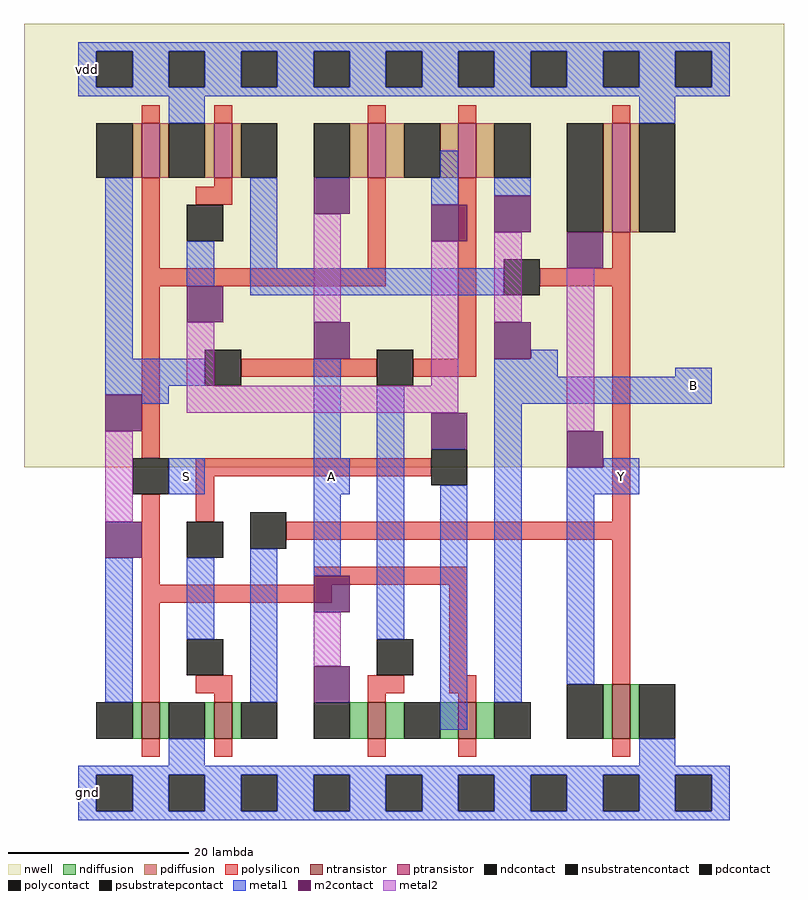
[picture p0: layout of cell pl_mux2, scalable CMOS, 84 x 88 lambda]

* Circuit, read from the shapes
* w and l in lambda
.subckt pl_mux2 A B S Y vdd gnd
M1 gnd S n1 gnd nfet w=4 l=2
M2 n2 n3 gnd gnd nfet w=4 l=2
M3 n3 n1 A gnd nfet w=4 l=2
M4 B S n3 gnd nfet w=4 l=2
M5 gnd n2 Y gnd nfet w=6 l=2
M6 vdd S n1 vdd pfet w=6 l=2
M7 n2 n3 vdd vdd pfet w=6 l=2
M8 n3 S A vdd pfet w=6 l=2
M9 B n1 n3 vdd pfet w=6 l=2
M10 vdd n2 Y vdd pfet w=12 l=2
.ends

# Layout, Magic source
magic
tech scmos
<< nwell >>
rect -6 36 78 85
<< ndiffusion >>
rect 6 6 7 10
rect 9 6 10 10
rect 14 6 15 10
rect 17 6 18 10
rect 30 6 32 10
rect 34 6 36 10
rect 40 6 42 10
rect 44 6 46 10
rect 58 6 59 12
rect 61 6 62 12
<< pdiffusion >>
rect 58 62 59 74
rect 61 62 62 74
rect 6 68 7 74
rect 9 68 10 74
rect 14 68 15 74
rect 17 68 18 74
rect 30 68 32 74
rect 34 68 36 74
rect 40 68 42 74
rect 44 68 46 74
<< polysilicon >>
rect 7 4 9 6
rect 15 4 17 6
rect 32 4 34 6
rect 42 4 44 6
rect 59 4 61 6
rect 7 10 9 21
rect 15 10 17 11
rect 32 10 34 11
rect 42 10 44 11
rect 13 11 17 13
rect 32 11 36 13
rect 41 11 44 13
rect 59 12 61 28
rect 41 13 43 23
rect 7 21 28 23
rect 7 23 9 33
rect 26 23 43 25
rect 23 28 61 30
rect 13 30 15 35
rect 59 30 61 56
rect 13 35 39 37
rect 7 37 9 56
rect 18 46 33 48
rect 37 46 44 48
rect 42 48 44 68
rect 7 56 34 58
rect 51 56 61 58
rect 7 58 9 68
rect 32 58 34 68
rect 59 58 61 62
rect 13 65 17 67
rect 15 67 17 68
rect 7 74 9 76
rect 15 74 17 76
rect 32 74 34 76
rect 42 74 44 76
rect 59 74 61 76
<< ntransistor >>
rect 7 6 9 10
rect 15 6 17 10
rect 32 6 34 10
rect 42 6 44 10
rect 59 6 61 12
<< ptransistor >>
rect 59 62 61 74
rect 7 68 9 74
rect 15 68 17 74
rect 32 68 34 74
rect 42 68 44 74
<< ndcontact >>
rect 2 6 6 10
rect 10 6 14 10
rect 18 6 22 10
rect 26 6 30 10
rect 36 6 40 10
rect 46 6 50 10
rect 54 6 58 12
rect 62 6 66 12
<< pdcontact >>
rect 54 62 58 74
rect 62 62 66 74
rect 2 68 6 74
rect 10 68 14 74
rect 18 68 22 74
rect 26 68 30 74
rect 36 68 40 74
rect 46 68 50 74
<< polycontact >>
rect 12 13 16 17
rect 33 13 37 17
rect 12 26 16 30
rect 19 27 23 31
rect 6 33 10 37
rect 39 34 43 38
rect 14 45 18 49
rect 33 45 37 49
rect 47 55 51 59
rect 12 61 16 65
<< psubstratepcontact >>
rect 2 -2 6 2
rect 10 -2 14 2
rect 18 -2 22 2
rect 26 -2 30 2
rect 34 -2 38 2
rect 42 -2 46 2
rect 50 -2 54 2
rect 58 -2 62 2
rect 66 -2 70 2
<< nsubstratencontact >>
rect 2 78 6 82
rect 10 78 14 82
rect 18 78 22 82
rect 26 78 30 82
rect 34 78 38 82
rect 42 78 46 82
rect 50 78 54 82
rect 58 78 62 82
rect 66 78 70 82
<< metal1 >>
rect 0 -3 72 -2
rect 0 -2 2 2
rect 6 -2 10 2
rect 14 -2 18 2
rect 22 -2 26 2
rect 30 -2 34 2
rect 38 -2 42 2
rect 46 -2 50 2
rect 54 -2 58 2
rect 62 -2 66 2
rect 70 -2 72 2
rect 0 2 72 3
rect 10 3 14 6
rect 62 3 66 6
rect 40 7 43 34
rect 3 10 6 26
rect 19 10 22 27
rect 46 10 49 43
rect 54 12 57 33
rect 12 17 15 26
rect 33 17 36 45
rect 26 24 29 33
rect 10 33 14 37
rect 26 33 30 37
rect 54 33 62 36
rect 58 36 62 37
rect 26 37 29 48
rect 7 43 10 44
rect 46 43 70 46
rect 3 44 10 45
rect 3 45 14 48
rect 46 46 53 48
rect 66 46 70 47
rect 3 48 6 68
rect 50 48 53 49
rect 19 55 47 58
rect 12 56 15 61
rect 19 58 22 68
rect 39 65 42 68
rect 46 66 50 68
rect 40 68 42 71
rect 10 74 14 77
rect 62 74 66 77
rect 0 77 72 78
rect 0 78 2 82
rect 6 78 10 82
rect 14 78 18 82
rect 22 78 26 82
rect 30 78 34 82
rect 38 78 42 82
rect 46 78 50 82
rect 54 78 58 82
rect 62 78 66 82
rect 70 78 72 82
rect 0 82 72 83
<< m2contact >>
rect 26 10 30 14
rect 26 20 30 24
rect 3 26 7 30
rect 54 36 58 40
rect 39 38 43 42
rect 3 40 7 44
rect 26 48 30 52
rect 46 48 50 52
rect 12 52 16 56
rect 54 58 58 62
rect 39 61 43 65
rect 46 62 50 66
rect 26 64 30 68
<< metal2 >>
rect 26 14 29 20
rect 3 30 6 40
rect 54 40 57 58
rect 12 42 42 45
rect 12 45 15 52
rect 39 45 42 61
rect 26 52 29 64
rect 46 52 49 62
<< labels >>
rlabel metal1 s 26 33 30 37 0 A
port 1 nsew signal input
rlabel metal1 s 66 43 70 47 0 B
port 2 nsew signal input
rlabel metal1 s 10 33 14 37 0 S
port 3 nsew signal input
rlabel metal1 s 58 33 62 37 0 Y
port 4 nsew signal output
rlabel metal1 s 0 77 2 83 0 vdd
port 5 nsew power bidirectional
rlabel metal1 s 0 -3 2 3 0 gnd
port 6 nsew ground bidirectional
<< properties >>
string FIXED_BBOX 0 0 72 80
<< end >>
